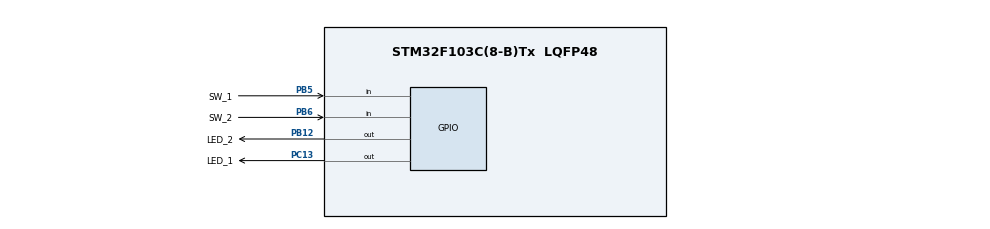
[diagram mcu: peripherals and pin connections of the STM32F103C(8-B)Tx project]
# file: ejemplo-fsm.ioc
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Mcu.Family=STM32F1
Mcu.Name=STM32F103C(8-B)Tx
Mcu.Package=LQFP48
NVIC.PriorityGroup=NVIC_PRIORITYGROUP_4
PA13.Mode=Serial_Wire
PA13.Signal=SYS_JTMS-SWDIO
PA14.Mode=Serial_Wire
PA14.Signal=SYS_JTCK-SWCLK
PB12.GPIO_Label=LED_2
PB12.Signal=GPIO_Output
PB5.GPIO_Label=SW_1
PB5.GPIO_PuPd=GPIO_PULLDOWN
PB5.Signal=GPIO_Input
PB6.GPIO_Label=SW_2
PB6.GPIO_PuPd=GPIO_PULLDOWN
PB6.Signal=GPIO_Input
PC13-TAMPER-RTC.GPIO_Label=LED_1
PC13-TAMPER-RTC.Signal=GPIO_Output
ProjectManager.HeapSize=0x200
ProjectManager.StackSize=0x400
ProjectManager.TargetToolchain=STM32CubeIDE
RCC.APB1Freq_Value=8000000
RCC.APB2Freq_Value=8000000
board=custom

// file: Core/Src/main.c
/* USER CODE BEGIN Header */
/**
  ******************************************************************************
  * @file           : main.c
  * @brief          : Main program body
  ******************************************************************************
  * @attention
  *
  * Copyright (c) 2024 STMicroelectronics.
  * All rights reserved.
  *
  * This software is licensed under terms that can be found in the LICENSE file
  * in the root directory of this software component.
  * If no LICENSE file comes with this software, it is provided AS-IS.
  *
  ******************************************************************************
  */
/* USER CODE END Header */
#include "main.h"

/* USER CODE BEGIN Includes */
#include <string.h>
#include <stdio.h>

#include "blink_control.h"
#include "timer_period_manager.h"
#include "timer.h"

/* USER CODE END Includes */

/* USER CODE BEGIN PV */
// Low-power mode aids
Timer tick;
const int TICK_RATE_MS = 10;

DebouncedSwitch debounced_button1, debounced_button2;
EdgeDetector edge_detector1, edge_detector2;
BlinkControl blink_control_led1, blink_control_led2;
TimerPeriodManager period_manager1, period_manager2;
/* USER CODE END PV */

void SystemClock_Config(void);
static void MX_GPIO_Init(void);

int main(void)
{

  /* MCU Configuration--------------------------------------------------------*/

  /* Reset of all peripherals, Initializes the Flash interface and the Systick. */
  HAL_Init();

  /* Configure the system clock */
  SystemClock_Config();

  /* Initialize all configured peripherals */
  MX_GPIO_Init();
  /* USER CODE BEGIN 2 */
  debounced_switch_init(&debounced_button1, SW_1_GPIO_Port, SW_1_Pin);
  debounced_switch_init(&debounced_button2, SW_2_GPIO_Port, SW_2_Pin);
  blink_control_init(&blink_control_led1, LED_1_GPIO_Port, LED_1_Pin, 0);
  blink_control_init(&blink_control_led2, LED_2_GPIO_Port, LED_2_Pin, 0);
  edge_detector_init(&edge_detector1, &debounced_button1);
  edge_detector_init(&edge_detector2, &debounced_button2);
  timer_period_manager_init(&period_manager1, &blink_control_led1.blink_timer, &edge_detector1);
  timer_period_manager_init(&period_manager2, &blink_control_led2.blink_timer, &edge_detector2);
  /* USER CODE END 2 */

  /* Infinite loop */
  /* USER CODE BEGIN WHILE */
  while (1)
  {
	// Leave this here if you care about power consumption
	timer_start(&tick, TICK_RATE_MS);

	// Update all our modules
	debounced_switch_update(&debounced_button1);
	debounced_switch_update(&debounced_button2);
    edge_detector_update(&edge_detector1);
    edge_detector_update(&edge_detector2);
    blink_control_update(&blink_control_led1);
    blink_control_update(&blink_control_led2);
    timer_period_manager_update(&period_manager1);
    timer_period_manager_update(&period_manager2);

    // Put the processor to sleep during the remaining time until the tick rate is reached,
    // this allows us to save energy from otherwise wasted CPU cycles. The systick will wake up
    // the processor once every millisecond, and then be back to sleep again, this process will
    // repeat until the timer expires. Then our tasks will run again one time, and so on.
    while(!timer_has_expired(&tick)) {
    	HAL_PWR_EnterSLEEPMode(PWR_MAINREGULATOR_ON, PWR_SLEEPENTRY_WFI);
    }
    /* USER CODE END WHILE */

  }
}

void SystemClock_Config(void)
{
  RCC_OscInitTypeDef RCC_OscInitStruct = {0};
  RCC_ClkInitTypeDef RCC_ClkInitStruct = {0};

  /** Initializes the RCC Oscillators according to the specified parameters
  * in the RCC_OscInitTypeDef structure.
  */
  RCC_OscInitStruct.OscillatorType = RCC_OSCILLATORTYPE_HSI;
  RCC_OscInitStruct.HSIState = RCC_HSI_ON;
  RCC_OscInitStruct.HSICalibrationValue = RCC_HSICALIBRATION_DEFAULT;
  RCC_OscInitStruct.PLL.PLLState = RCC_PLL_NONE;
  if (HAL_RCC_OscConfig(&RCC_OscInitStruct) != HAL_OK)
  {
    Error_Handler();
  }

  /** Initializes the CPU, AHB and APB buses clocks
  */
  RCC_ClkInitStruct.ClockType = RCC_CLOCKTYPE_HCLK|RCC_CLOCKTYPE_SYSCLK
                              |RCC_CLOCKTYPE_PCLK1|RCC_CLOCKTYPE_PCLK2;
  RCC_ClkInitStruct.SYSCLKSource = RCC_SYSCLKSOURCE_HSI;
  RCC_ClkInitStruct.AHBCLKDivider = RCC_SYSCLK_DIV1;
  RCC_ClkInitStruct.APB1CLKDivider = RCC_HCLK_DIV1;
  RCC_ClkInitStruct.APB2CLKDivider = RCC_HCLK_DIV1;

  if (HAL_RCC_ClockConfig(&RCC_ClkInitStruct, FLASH_LATENCY_0) != HAL_OK)
  {
    Error_Handler();
  }
}

static void MX_GPIO_Init(void)
{
  GPIO_InitTypeDef GPIO_InitStruct = {0};

  /* GPIO Ports Clock Enable */
  __HAL_RCC_GPIOC_CLK_ENABLE();
  __HAL_RCC_GPIOB_CLK_ENABLE();
  __HAL_RCC_GPIOA_CLK_ENABLE();

  /*Configure GPIO pin Output Level */
  HAL_GPIO_WritePin(LED_1_GPIO_Port, LED_1_Pin, GPIO_PIN_RESET);

  /*Configure GPIO pin Output Level */
  HAL_GPIO_WritePin(LED_2_GPIO_Port, LED_2_Pin, GPIO_PIN_RESET);

  /*Configure GPIO pin : LED_1_Pin */
  GPIO_InitStruct.Pin = LED_1_Pin;
  GPIO_InitStruct.Mode = GPIO_MODE_OUTPUT_PP;
  GPIO_InitStruct.Pull = GPIO_NOPULL;
  GPIO_InitStruct.Speed = GPIO_SPEED_FREQ_LOW;
  HAL_GPIO_Init(LED_1_GPIO_Port, &GPIO_InitStruct);

  /*Configure GPIO pin : LED_2_Pin */
  GPIO_InitStruct.Pin = LED_2_Pin;
  GPIO_InitStruct.Mode = GPIO_MODE_OUTPUT_PP;
  GPIO_InitStruct.Pull = GPIO_NOPULL;
  GPIO_InitStruct.Speed = GPIO_SPEED_FREQ_LOW;
  HAL_GPIO_Init(LED_2_GPIO_Port, &GPIO_InitStruct);

  /*Configure GPIO pins : SW_1_Pin SW_2_Pin */
  GPIO_InitStruct.Pin = SW_1_Pin|SW_2_Pin;
  GPIO_InitStruct.Mode = GPIO_MODE_INPUT;
  GPIO_InitStruct.Pull = GPIO_PULLDOWN;
  HAL_GPIO_Init(GPIOB, &GPIO_InitStruct);

}

/* USER CODE BEGIN 4 */
/**
  * @brief  Retargets the C library printf function to the USART.
  *   None
  * @retval None
  */

/* USER CODE END 4 */

void Error_Handler(void)
{
  __disable_irq();
  while (1)
  {
  }
}
